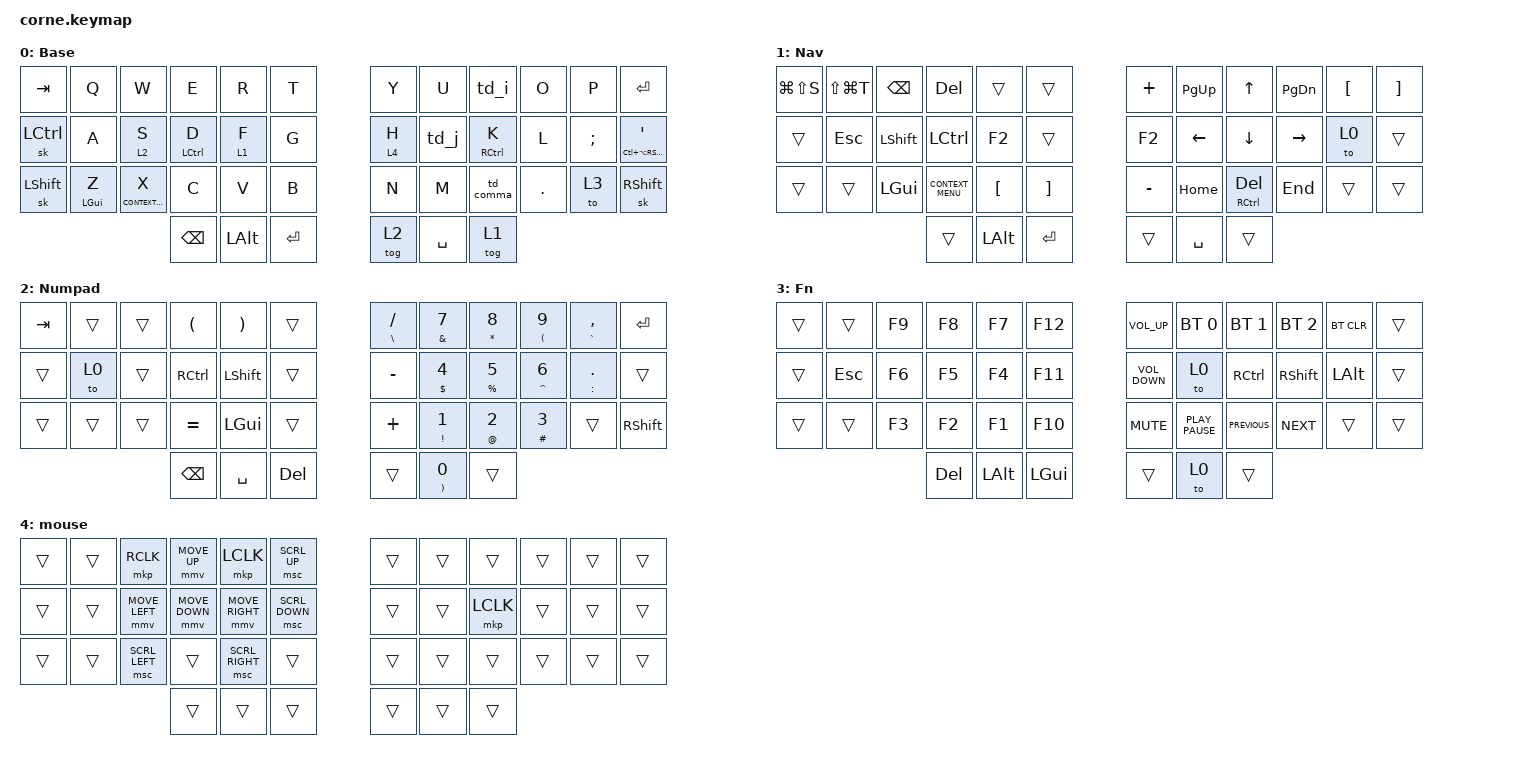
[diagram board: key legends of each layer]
/*
 * Copyright (c) 2020 The ZMK Contributors
 *
 * SPDX-License-Identifier: MIT
 */

#include <behaviors.dtsi>
#include <dt-bindings/zmk/bt.h>
#include <dt-bindings/zmk/keys.h>
#include <dt-bindings/zmk/pointing.h>

/ {
    behaviors {
        td_j: td_j {
            compatible = "zmk,behavior-tap-dance";
            label = "TD_J";
            #binding-cells = <0>;
            bindings = <&kp J>, <&kp MINUS>;
        };

        td_i: td_i {
            compatible = "zmk,behavior-tap-dance";
            label = "TD_I";
            #binding-cells = <0>;
            bindings = <&kp I>, <&kp FSLH>;
        };

        td_comma: td_comma {
            compatible = "zmk,behavior-tap-dance";
            label = "TD_COMMA";
            #binding-cells = <0>;
            bindings = <&kp COMMA>, <&kp EQUAL>;
        };

        HRM: HRM {
            compatible = "zmk,behavior-hold-tap";
            label = "HRM";
            bindings = <&kp>, <&kp>;

            #binding-cells = <2>;
            hold-trigger-key-positions = <0 1 2 3 4 5 6 7 8 9 10 11 12 13 14 15 16 17 18 19 20 21 22 23 24 25 26 27 28 29 30 31 32 33 34 35 36 37 38 39 40 41>;
            flavor = "tap-preferred";
            tapping-term-ms = <200>;
        };
    };

    combos {
        compatible = "zmk,combos";

        Functions {
            bindings = <&mo 3>;
            key-positions = <19 20>;
        };

        Nav {
            bindings = <&to 1>;
            key-positions = <16 15>;
        };

        Numpad {
            bindings = <&to 2>;
            key-positions = <16 14>;
        };
    };

    keymap {
        compatible = "zmk,keymap";

        Home {
            // -----------------------------------------------------------------------------------------
            // |  TAB |  Q  |  W  |  E  |  R  |  T  |   |  Y  |  U   |  I  |  O  |  P  | BKSP |
            // | CTRL |  A  |  S  |  D  |  F  |  G  |   |  H  |  J   |  K  |  L  |  ;  |  '   |
            // | SHFT |  Z  |  X  |  C  |  V  |  B  |   |  N  |  M   |  ,  |  .  |  /  | ESC  |
            //                    | GUI | LWR | SPC |   | ENT | RSE  | ALT |

            display-name = "Base";
            bindings = <
&kp TAB    &kp Q           &kp W                 &kp E          &kp R         &kp T      &kp Y    &kp U      &td_i         &kp O    &kp P     &kp ENTER
&sk LCTRL  &kp A           &lt 2 S               &HRM LCTRL D   &lt 1 F       &kp G      &lt 4 H  &td_j      &HRM RCTRL K  &kp L    &kp SEMI  &HRM LC(LA(RIGHT_SHIFT)) SQT
&sk LSHFT  &mt LEFT_GUI Z  &mt K_CONTEXT_MENU X  &kp C          &kp V         &kp B      &kp N    &kp M      &td_comma     &kp DOT  &to 3     &sk RIGHT_SHIFT
                                                 &kp BACKSPACE  &kp LEFT_ALT  &kp RET    &tog 2   &kp SPACE  &tog 1
            >;
        };

        nav {
            // -----------------------------------------------------------------------------------------
            // |  TAB |  1  |  2  |  3  |  4  |  5  |   |  6  |  7  |  8  |  9  |  0  | BKSP |
            // | BTCLR| BT1 | BT2 | BT3 | BT4 | BT5 |   | LFT | DWN |  UP | RGT |     |      |
            // | SHFT |     |     |     |     |     |   |     |     |     |     |     |      |
            //                    | GUI |     | SPC |   | ENT |     | ALT |

            display-name = "Nav";
            bindings = <
&kp LG(LS(S))  &kp LS(LG(T))  &kp BACKSPACE   &kp DELETE          &trans            &trans               &kp PLUS   &kp PAGE_UP  &kp UP_ARROW       &kp PAGE_DOWN  &kp LEFT_BRACKET  &kp RIGHT_BRACKET
&trans         &kp ESC        &kp LEFT_SHIFT  &kp LCTRL           &kp F2            &trans               &kp F2     &kp LEFT     &kp DOWN           &kp RIGHT      &to 0             &trans
&trans         &trans         &kp LEFT_GUI    &kp K_CONTEXT_MENU  &kp LEFT_BRACKET  &kp RIGHT_BRACKET    &kp MINUS  &kp HOME     &HRM RCTRL DELETE  &kp END        &trans            &trans
                                              &trans              &kp LEFT_ALT      &kp ENTER            &trans     &kp SPACE    &trans
            >;
        };

        Numpad {
            // -----------------------------------------------------------------------------------------
            // |  TAB |  !  |  @  |  #  |  $  |  %  |   |  ^  |  &  |  *  |  (  |  )  | BKSP |
            // | CTRL |     |     |     |     |     |   |  -  |  =  |  [  |  ]  |  \  |  `   |
            // | SHFT |     |     |     |     |     |   |  _  |  +  |  {  |  }  | "|" |  ~   |
            //                    | GUI |     | SPC |   | ENT |     | ALT |

            display-name = "Numpad";
            bindings = <
&kp TAB  &trans  &trans  &kp LEFT_PARENTHESIS  &kp RIGHT_PARENTHESIS  &trans        &HRM BACKSLASH SLASH  &HRM AMPERSAND N7          &HRM ASTERISK N8       &HRM LEFT_PARENTHESIS NUMBER_9  &HRM GRAVE COMMA   &kp ENTER
&trans   &to 0   &trans  &kp RCTRL             &kp LEFT_SHIFT         &trans        &kp MINUS             &HRM DOLLAR NUMBER_4       &HRM PERCENT N5        &mt CARET NUMBER_6              &HRM COLON PERIOD  &trans
&trans   &trans  &trans  &kp EQUAL             &kp LEFT_GUI           &trans        &kp PLUS              &HRM EXCLAMATION NUMBER_1  &HRM AT_SIGN NUMBER_2  &HRM HASH NUMBER_3              &trans             &kp RIGHT_SHIFT
                         &kp BACKSPACE         &kp SPACE              &kp DELETE    &trans                &HRM RIGHT_PARENTHESIS N0  &trans
            >;
        };

        Fn {
            bindings = <
&trans  &trans   &kp F9  &kp F8   &kp F7        &kp F12         &kp C_VOL_UP       &bt BT_SEL 0      &bt BT_SEL 1    &bt BT_SEL 2     &bt BT_CLR    &trans
&trans  &kp ESC  &kp F6  &kp F5   &kp F4        &kp F11         &kp C_VOLUME_DOWN  &to 0             &kp RCTRL       &kp RIGHT_SHIFT  &kp LEFT_ALT  &trans
&trans  &trans   &kp F3  &kp F2   &kp F1        &kp F10         &kp K_MUTE         &kp K_PLAY_PAUSE  &kp C_PREVIOUS  &kp C_NEXT       &trans        &trans
                         &kp DEL  &kp LEFT_ALT  &kp LEFT_GUI    &trans             &to 0             &trans
            >;
        };

        mouse {
            bindings = <
&trans  &trans  &mkp RCLK       &mmv MOVE_UP    &mkp LCLK        &msc SCRL_UP      &trans  &trans  &trans     &trans  &trans  &trans
&trans  &trans  &mmv MOVE_LEFT  &mmv MOVE_DOWN  &mmv MOVE_RIGHT  &msc SCRL_DOWN    &trans  &trans  &mkp LCLK  &trans  &trans  &trans
&trans  &trans  &msc SCRL_LEFT  &trans          &msc SCRL_RIGHT  &trans            &trans  &trans  &trans     &trans  &trans  &trans
                                &trans          &trans           &trans            &trans  &trans  &trans
            >;
        };
    };
};
